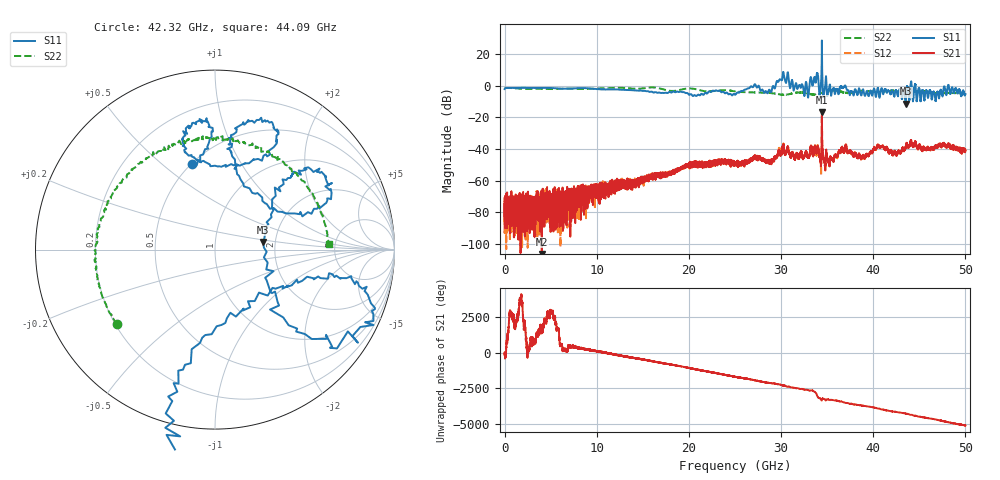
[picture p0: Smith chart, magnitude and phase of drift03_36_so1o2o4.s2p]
!Created with skrf (http://scikit-rf.org).
# Hz S RI R 50.0
!freq ReS11 ImS11 ReS21 ImS21 ReS12 ImS12 ReS22 ImS22
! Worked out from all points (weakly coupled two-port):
!   10000 points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, 5.3 MHz to 50 GHz, reference 50 ohm
!   highest |S21| = -16.77 dB at 34.43 GHz (marker M1); lowest = -106.3 dB at 4.035 GHz (marker M2)
!   lowest |S11| = -11.4 dB at 43.52 GHz (marker M3), VSWR 1.74, Z = 85.9 + j7.95 ohm
!   |S11| at or under -10 dB: 43.49262 GHz to 43.54128 GHz (48.66 MHz wide, 0.112 % of centre)
!   |S22| runs from -5.8 to -1.1 dB; largest |S21 - S12| = 0.041
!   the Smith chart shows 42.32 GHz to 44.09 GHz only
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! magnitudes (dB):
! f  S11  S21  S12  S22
! 5.3 MHz  -2.1  -74.8  -83.6  -1.3
! 4.035 GHz  -1.4  -106.3  -74.8  -2.0
! 8.34 GHz  -1.5  -69.2  -65.9  -2.1
! 16.67 GHz  -4.4  -55.3  -56.9  -1.5
! 20.33 GHz  -5.8  -48.8  -50.3  -1.8
! 25.01 GHz  -5.5  -49.1  -49.1  -3.5
! 27.02 GHz  -0.3  -45.8  -45.5  -4.2
! 28.72 GHz  -2.5  -47.8  -48.2  -4.5
! 30.14 GHz  4.4  -40.2  -40.1  -5.6
! 32.74 GHz  2.0  -41.5  -42.3  -4.6
! 33.34 GHz  2.6  -39.7  -40.4  -5.6
! 33.82 GHz  4.0  -42.3  -42.1  -5.7
! 34.43 GHz  28.6  -16.8  -18.9  -4.5
! 35.35 GHz  -1.3  -44.5  -45.7  -3.3
! 36.83 GHz  -0.7  -42.2  -41.9  -4.1
! 38.87 GHz  -2.5  -43.9  -43.4  -3.2
! 40.59 GHz  -3.6  -37.7  -37.9  -4.0
! 41.67 GHz  -3.1  -42.1  -42.1  -3.3
! 43.52 GHz  -11.4  -39.5  -39.0  -4.2
! 46.57 GHz  -3.7  -39.7  -39.2  -4.5
! 47.49 GHz  -6.2  -36.5  -37.7  -4.8
! 50 GHz  -5.2  -41.4  -40.5  -4.6
